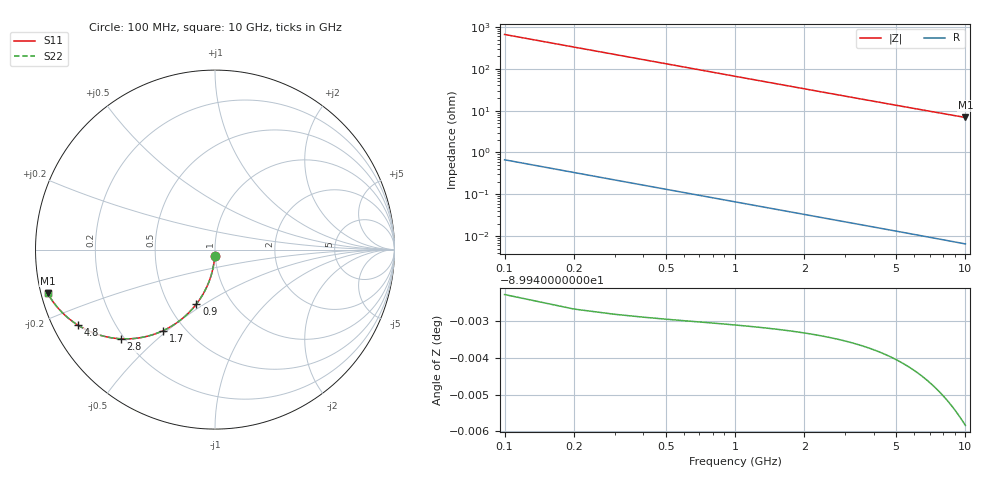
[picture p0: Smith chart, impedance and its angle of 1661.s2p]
# Hz S RI R 50.00
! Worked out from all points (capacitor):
!   100 points, 100 MHz to 10 GHz, reference 50 ohm
!   read as one part in shunt: C = 2.4 pF near 100 MHz
!   lowest |Z| = 6.87 ohm at 10 GHz (marker M1)
!   S11 on the Smith chart (normalised r, x): 100 MHz: 0.99, -0.07; 900 MHz: 0.69, -0.46; 1.7 GHz: 0.38, -0.48; 2.8 GHz: 0.19, -0.39; 4.8 GHz: 0.07, -0.26; 10 GHz: 0.02, -0.13
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1e8  -0.00145 -0.0376  0.9985 -0.0377  0.9985 -0.0377  -0.00145 -0.0376
2e8  -0.00572 -0.0748  0.9943 -0.0751  0.9943 -0.0751  -0.00572 -0.0748
3e8  -0.0127 -0.1114  0.9872 -0.1119  0.9872 -0.1119  -0.0127 -0.1114
4e8  -0.0224 -0.1471  0.9776 -0.1477  0.9776 -0.1477  -0.0224 -0.1471
5e8  -0.0345 -0.1816  0.9655 -0.1823  0.9655 -0.1823  -0.0345 -0.1816
6e8  -0.0488 -0.2146  0.9511 -0.2155  0.9511 -0.2155  -0.0488 -0.2146
7e8  -0.0653 -0.246  0.9347 -0.247  0.9347 -0.247  -0.0653 -0.246
9e8  -0.1033 -0.3032  0.8967 -0.3045  0.8967 -0.3045  -0.1033 -0.3032
1.1e9  -0.1467 -0.3525  0.8533 -0.3541  0.8533 -0.3541  -0.1467 -0.3525
1.3e9  -0.1934 -0.3935  0.8066 -0.3954  0.8066 -0.3954  -0.1934 -0.3935
1.7e9  -0.2903 -0.4522  0.7097 -0.4546  0.7097 -0.4546  -0.2903 -0.4522
1.8e9  -0.3143 -0.4625  0.6857 -0.465  0.6857 -0.465  -0.3143 -0.4625
2.3e9  -0.4273 -0.4926  0.5726 -0.4958  0.5726 -0.4958  -0.4273 -0.4926
2.8e9  -0.5245 -0.4969  0.4754 -0.5009  0.4754 -0.5009  -0.5245 -0.4969
3.4e9  -0.6187 -0.4828  0.3813 -0.4876  0.3813 -0.4876  -0.6187 -0.4828
4.1e9  -0.7017 -0.454  0.2982 -0.4599  0.2982 -0.4599  -0.7017 -0.454
4.8e9  -0.7629 -0.4213  0.237 -0.4283  0.237 -0.4283  -0.7629 -0.4213
5.1e9  -0.784 -0.4073  0.2159 -0.4147  0.2159 -0.4147  -0.784 -0.4073
5.8e9  -0.8242 -0.3759  0.1758 -0.3844  0.1758 -0.3844  -0.8242 -0.3759
6.7e9  -0.862 -0.3394  0.1379 -0.3493  0.1379 -0.3493  -0.862 -0.3394
8.4e9  -0.9075 -0.283  0.0924 -0.2954  0.0924 -0.2954  -0.9075 -0.283
1e10  -0.933 -0.242  0.0669 -0.2569  0.0669 -0.2569  -0.933 -0.242
